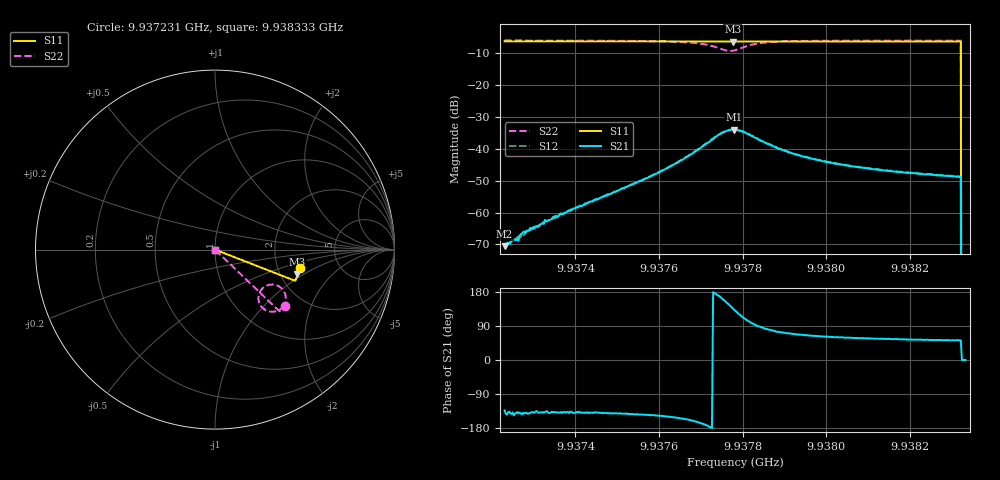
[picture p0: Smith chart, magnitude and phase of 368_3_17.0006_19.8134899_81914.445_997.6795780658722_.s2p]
#  HZ  S  RI  R  50.00
! Rohde & Schwarz Vector Network Analyzer
! Rohde-Schwarz,ZNB20-2Port,1311601062101988,3.16
! Created: UTC 3/20/2024, 11:08:37 PM
! freq[Hz]  re:S11  im:S11  re:S21  im:S21  re:S12  im:S12  re:S22  im:S22
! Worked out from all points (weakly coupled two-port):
!   401 points, 9.937231 GHz to 9.938333 GHz, reference 50 ohm
!   highest |S21| = -34.03 dB at 9.937779 GHz (marker M1); lowest = -70.5 dB at 9.937231 GHz (marker M2)
!   lowest |S11| = -6.4 dB at 9.937776 GHz (marker M3), VSWR 2.84, Z = 123 - j44.3 ohm
!   |S11| at or under -10 dB: 9.938322 GHz to end of sweep
!   |S22| runs from - to -6.0 dB; largest |S21 - S12| = 0.00079
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9.9372305e9  0.4726 -0.1037  -0.000203 -0.000217  -0.000246 -0.00017  0.3885 -0.3122
9.9372581e9  0.472 -0.1056  -0.000283 -0.00024  -0.000293 -0.000243  0.3866 -0.314
9.9372719e9  0.4719 -0.1064  -0.000372 -0.000276  -0.000378 -0.000285  0.3856 -0.3149
9.9372967e9  0.4712 -0.1082  -0.000403 -0.00037  -0.000442 -0.00038  0.3838 -0.3167
9.9373325e9  0.4706 -0.1106  -0.000519 -0.000505  -0.000566 -0.000476  0.381 -0.3193
9.9374152e9  0.4688 -0.1161  -0.000947 -0.000825  -0.00101 -0.000858  0.3734 -0.3256
9.9375998e9  0.4646 -0.1284  -0.00357 -0.00231  -0.00369 -0.0023  0.3419 -0.3425
9.9376494e9  0.4632 -0.1318  -0.00572 -0.00285  -0.00584 -0.00279  0.3222 -0.3462
9.9377128e9  0.461 -0.136  -0.0118 -0.00165  -0.0121 -0.00147  0.2726 -0.3311
9.9377486e9  0.4594 -0.1376  -0.0167 0.00477  -0.0169 0.00526  0.2421 -0.2749
9.9377762e9  0.4588 -0.1382  -0.0143 0.0137  -0.0143 0.0143  0.2726 -0.2092
9.937779e9  0.4589 -0.1383  -0.0137 0.0144  -0.0135 0.015  0.2792 -0.2049
9.9377817e9  0.4588 -0.1384  -0.0128 0.0151  -0.0127 0.0156  0.2861 -0.2013
9.937801e9  0.4591 -0.1393  -0.007 0.0171  -0.00656 0.0174  0.3347 -0.1962
9.9378396e9  0.4592 -0.142  0.000325 0.0137  0.000744 0.014  0.3849 -0.2341
9.937903e9  0.458 -0.1466  0.00295 0.00874  0.003 0.00874  0.3936 -0.2803
9.9379664e9  0.4564 -0.1509  0.00305 0.00625  0.00318 0.00627  0.3882 -0.3023
9.9380546e9  0.4541 -0.1569  0.0028 0.00462  0.0029 0.00461  0.3795 -0.3189
9.938151e9  0.4516 -0.1632  0.00251 0.00373  0.00265 0.00367  0.3712 -0.3302
9.9383164e9  0.4469 -0.1738  0.00225 0.00288  0.00234 0.00283  0.3592 -0.3435
9.9383302e9  0 0  0 0  0 0  0 0
9.9383329e9  0 0  0 0  0 0  0 0
